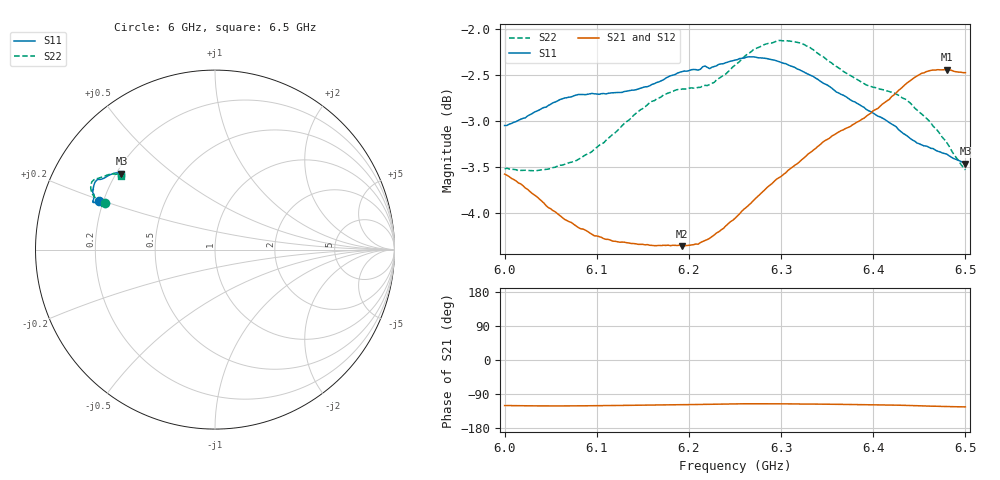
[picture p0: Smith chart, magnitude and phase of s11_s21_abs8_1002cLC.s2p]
! MS46122B
! 1919307/90821646
! 7/29/2022 1:56:53 PM
! C:\USERS\PC_\DESKTOP\MEDICIONES\BANCHA ESTRECHA\6_65_GHZ\S11_S21_ABS8_1002CL.S2P
! CHANNEL.1
! TR.MEASUREMENT
! CORRECTED.DATA
# GHZ S RI R 50.0
! FREQ.GHZ  S11RE  S11IM  S21RE  S21IM  S12RE  S12IM  S22RE  S22IM
!; PortSelection: Port_12
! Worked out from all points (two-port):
!   201 points, 6 GHz to 6.5 GHz, reference 50 ohm
!   highest |S21| = -2.44 dB at 6.48 GHz (marker M1); lowest = -4.4 dB at 6.192 GHz (marker M2)
!   |S21| within 3 dB of the highest: start of sweep to end of sweep
!   lowest |S11| = -3.5 dB at 6.5 GHz (marker M3), VSWR 5.08, Z = 11 + j17 ohm
!   |S11| at or under -10 dB: nowhere
!   |S22| runs from -3.5 to -2.1 dB; largest |S21 - S12| = 0.017
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6  -0.649 0.2726  -0.3342 -0.5721  -0.325 -0.5697  -0.6145 0.2589
6.03  -0.6632 0.266  -0.3328 -0.5545  -0.3278 -0.5498  -0.6137 0.2569
6.055  -0.676 0.2618  -0.3279 -0.5403  -0.3196 -0.5339  -0.6203 0.2486
6.085  -0.681 0.2678  -0.3176 -0.5308  -0.3072 -0.5249  -0.6329 0.2409
6.1075  -0.6767 0.2807  -0.3088 -0.5275  -0.2971 -0.5226  -0.6435 0.2457
6.1425  -0.6724 0.2994  -0.2984 -0.5289  -0.2849 -0.5265  -0.6606 0.2728
6.1675  -0.676 0.3092  -0.2926 -0.5308  -0.2779 -0.5287  -0.6685 0.2897
6.1925  -0.6816 0.3199  -0.2847 -0.5344  -0.2708 -0.5357  -0.6736 0.2983
6.2275  -0.6785 0.3374  -0.274 -0.5495  -0.2602 -0.5526  -0.6785 0.3027
6.25  -0.6744 0.3587  -0.2711 -0.5653  -0.2592 -0.5701  -0.6877 0.321
6.27  -0.668 0.3766  -0.2765 -0.5784  -0.2634 -0.585  -0.6926 0.3452
6.2925  -0.6577 0.3886  -0.2836 -0.5921  -0.2729 -0.5982  -0.6892 0.3679
6.3075  -0.6506 0.3916  -0.2902 -0.599  -0.279 -0.6068  -0.6836 0.3805
6.335  -0.6379 0.3913  -0.3019 -0.6123  -0.2924 -0.6207  -0.6669 0.3922
6.3575  -0.6194 0.3972  -0.3145 -0.6206  -0.3059 -0.6305  -0.6463 0.3981
6.3875  -0.5904 0.4142  -0.3315 -0.6272  -0.3264 -0.6383  -0.6211 0.4077
6.4175  -0.5644 0.4249  -0.3505 -0.6373  -0.3474 -0.6475  -0.6076 0.4126
6.445  -0.5421 0.4274  -0.3777 -0.6451  -0.3798 -0.6505  -0.5852 0.4184
6.465  -0.5349 0.4263  -0.3999 -0.6397  -0.3982 -0.6449  -0.564 0.4204
6.4675  -0.5333 0.426  -0.3992 -0.6401  -0.4035 -0.6414  -0.5609 0.4211
6.48  -0.5289 0.4261  -0.4104 -0.6335  -0.4101 -0.6348  -0.5458 0.4203
6.5  -0.521 0.4231  -0.4177 -0.6253  -0.417 -0.6245  -0.5243 0.4108
